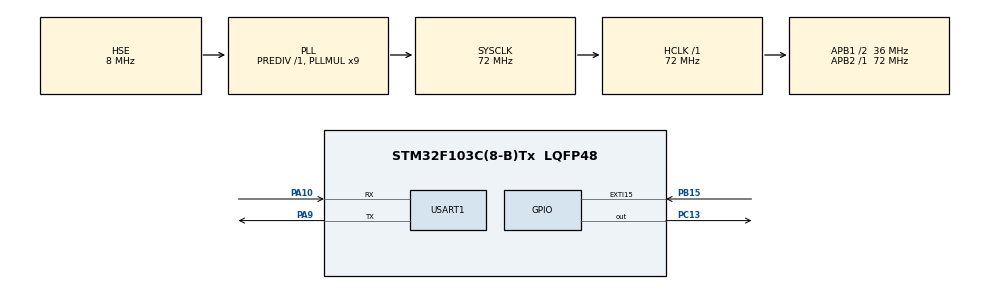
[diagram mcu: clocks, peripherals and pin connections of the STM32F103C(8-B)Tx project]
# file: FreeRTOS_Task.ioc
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Mcu.Family=STM32F1
Mcu.Name=STM32F103C(8-B)Tx
Mcu.Package=LQFP48
NVIC.EXTI15_10_IRQn=true\:0\:0\:false\:false\:true\:true\:true\:true
NVIC.PriorityGroup=NVIC_PRIORITYGROUP_4
NVIC.TIM2_IRQn=true\:15\:0\:false\:false\:true\:false\:true\:true
NVIC.TimeBase=TIM2_IRQn
NVIC.TimeBaseIP=TIM2
PA10.Mode=Asynchronous
PA10.Signal=USART1_RX
PA13.Mode=Serial_Wire
PA13.Signal=SYS_JTMS-SWDIO
PA14.Mode=Serial_Wire
PA14.Signal=SYS_JTCK-SWCLK
PA9.Mode=Asynchronous
PA9.Signal=USART1_TX
PB15.GPIO_PuPd=GPIO_PULLDOWN
PB15.Signal=GPXTI15
PC13-TAMPER-RTC.Signal=GPIO_Output
PD0-OSC_IN.Mode=HSE-External-Oscillator
PD0-OSC_IN.Signal=RCC_OSC_IN
PD1-OSC_OUT.Mode=HSE-External-Oscillator
PD1-OSC_OUT.Signal=RCC_OSC_OUT
ProjectManager.HeapSize=0x200
ProjectManager.StackSize=0x400
ProjectManager.TargetToolchain=STM32CubeIDE
RCC.AHBFreq_Value=72000000
RCC.APB1CLKDivider=RCC_HCLK_DIV2
RCC.APB1Freq_Value=36000000
RCC.APB1TimFreq_Value=72000000
RCC.APB2Freq_Value=72000000
RCC.APB2TimFreq_Value=72000000
RCC.HCLKFreq_Value=72000000
RCC.PLLMUL=RCC_PLL_MUL9
RCC.PLLSourceVirtual=RCC_PLLSOURCE_HSE
RCC.SYSCLKFreq_VALUE=72000000
RCC.SYSCLKSource=RCC_SYSCLKSOURCE_PLLCLK
RCC.USBFreq_Value=72000000
USART1.VirtualMode=VM_ASYNC
VP_SYS_VS_tim2.Mode=TIM2
board=custom

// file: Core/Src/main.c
/* USER CODE BEGIN Header */
/**
  ******************************************************************************
  * @file           : main.c
  * @brief          : Main program body
  ******************************************************************************
  * @attention
  *
  * Copyright (c) 2026 STMicroelectronics.
  * All rights reserved.
  *
  * This software is licensed under terms that can be found in the LICENSE file
  * in the root directory of this software component.
  * If no LICENSE file comes with this software, it is provided AS-IS.
  *
  ******************************************************************************
  */
/* USER CODE END Header */
#include "main.h"

/* USER CODE BEGIN Includes */

// Standard includes.
#include <stdio.h>

// Scheduler includes.
#include "FreeRTOS.h"
#include "task.h"
#include "queue.h"
#include "semphr.h"
#include "event_groups.h"

/* USER CODE END Includes */

UART_HandleTypeDef huart1;

void SystemClock_Config(void);
static void MX_GPIO_Init(void);
static void MX_USART1_UART_Init(void);

/* USER CODE BEGIN 0 */
#define switch_event_flag 0x01 // set the flag to 0x01 (arbitary)

static void prvCalcSwitch1(  void * pvParameters  );
static void prvIncreaseVar(  void * pvParameters  );
static void prvDecreaseVar(  void * pvParameters  );
static void prvUART(  void * pvParameters  );

uint32_t shared = 100; // protected by the mutex
volatile uint32_t counter = 0; // only accessed by calcSwitch1

// will be handled by a queue
typedef struct {
	uint8_t source; // 0 for SRC:counter, 1 for SRC:shared
	uint32_t value;
} UARTData_t;

QueueHandle_t UARTHandle;
SemaphoreHandle_t sharedMutex;
EventGroupHandle_t counterEventHandle;

// Event Counter

/* USER CODE END 0 */

int main(void)
{

  /* MCU Configuration--------------------------------------------------------*/

  /* Reset of all peripherals, Initializes the Flash interface and the Systick. */
  HAL_Init();

  /* Configure the system clock */
  SystemClock_Config();

  /* Initialize all configured peripherals */
  MX_GPIO_Init();
  MX_USART1_UART_Init();
  /* USER CODE BEGIN 2 */

  // https://www.freertos.org/Documentation/02-Kernel/04-API-references/01-Task-creation/01-xTaskCreate
  xTaskCreate( prvCalcSwitch1, "CalcSwitch1", configMINIMAL_STACK_SIZE, NULL, tskIDLE_PRIORITY + 1, NULL );
  xTaskCreate( prvIncreaseVar, "IncreaseVar", configMINIMAL_STACK_SIZE, NULL, tskIDLE_PRIORITY + 1, NULL );
  xTaskCreate( prvDecreaseVar, "DecreaseVar", configMINIMAL_STACK_SIZE, NULL, tskIDLE_PRIORITY + 1, NULL );
  xTaskCreate( prvUART, "UART", configMINIMAL_STACK_SIZE * 2, NULL, tskIDLE_PRIORITY + 1, NULL );

  // https://www.freertos.org/Documentation/02-Kernel/04-API-references/06-Queues/01-xQueueCreate
  UARTHandle = xQueueCreate( 10, sizeof(UARTData_t) );

  // https://www.freertos.org/Documentation/02-Kernel/04-API-references/10-Semaphore-and-Mutexes/06-xSemaphoreCreateMutex
  sharedMutex = xSemaphoreCreateMutex();

  // https://www.freertos.org/Documentation/02-Kernel/04-API-references/12-Event-groups-or-flags/01-xEventGroupCreate
  counterEventHandle = xEventGroupCreate();

  // https://www.freertos.org/Documentation/02-Kernel/04-API-references/04-RTOS-kernel-control/03-vTaskStartScheduler
  vTaskStartScheduler();

  /* USER CODE END 2 */

  /* Infinite loop */
  while (1)
  {

  }
}

void SystemClock_Config(void)
{
  RCC_OscInitTypeDef RCC_OscInitStruct = {0};
  RCC_ClkInitTypeDef RCC_ClkInitStruct = {0};

  /** Initializes the RCC Oscillators according to the specified parameters
  * in the RCC_OscInitTypeDef structure.
  */
  RCC_OscInitStruct.OscillatorType = RCC_OSCILLATORTYPE_HSE;
  RCC_OscInitStruct.HSEState = RCC_HSE_ON;
  RCC_OscInitStruct.HSEPredivValue = RCC_HSE_PREDIV_DIV1;
  RCC_OscInitStruct.HSIState = RCC_HSI_ON;
  RCC_OscInitStruct.PLL.PLLState = RCC_PLL_ON;
  RCC_OscInitStruct.PLL.PLLSource = RCC_PLLSOURCE_HSE;
  RCC_OscInitStruct.PLL.PLLMUL = RCC_PLL_MUL9;
  if (HAL_RCC_OscConfig(&RCC_OscInitStruct) != HAL_OK)
  {
    Error_Handler();
  }

  /** Initializes the CPU, AHB and APB buses clocks
  */
  RCC_ClkInitStruct.ClockType = RCC_CLOCKTYPE_HCLK|RCC_CLOCKTYPE_SYSCLK
                              |RCC_CLOCKTYPE_PCLK1|RCC_CLOCKTYPE_PCLK2;
  RCC_ClkInitStruct.SYSCLKSource = RCC_SYSCLKSOURCE_PLLCLK;
  RCC_ClkInitStruct.AHBCLKDivider = RCC_SYSCLK_DIV1;
  RCC_ClkInitStruct.APB1CLKDivider = RCC_HCLK_DIV2;
  RCC_ClkInitStruct.APB2CLKDivider = RCC_HCLK_DIV1;

  if (HAL_RCC_ClockConfig(&RCC_ClkInitStruct, FLASH_LATENCY_2) != HAL_OK)
  {
    Error_Handler();
  }
}

static void MX_USART1_UART_Init(void)
{

  huart1.Instance = USART1;
  huart1.Init.BaudRate = 115200;
  huart1.Init.WordLength = UART_WORDLENGTH_8B;
  huart1.Init.StopBits = UART_STOPBITS_1;
  huart1.Init.Parity = UART_PARITY_NONE;
  huart1.Init.Mode = UART_MODE_TX_RX;
  huart1.Init.HwFlowCtl = UART_HWCONTROL_NONE;
  huart1.Init.OverSampling = UART_OVERSAMPLING_16;
  if (HAL_UART_Init(&huart1) != HAL_OK)
  {
    Error_Handler();
  }

}

static void MX_GPIO_Init(void)
{
  GPIO_InitTypeDef GPIO_InitStruct = {0};

  /* GPIO Ports Clock Enable */
  __HAL_RCC_GPIOC_CLK_ENABLE();
  __HAL_RCC_GPIOD_CLK_ENABLE();
  __HAL_RCC_GPIOB_CLK_ENABLE();
  __HAL_RCC_GPIOA_CLK_ENABLE();

  /*Configure GPIO pin Output Level */
  HAL_GPIO_WritePin(GPIOC, GPIO_PIN_13, GPIO_PIN_RESET);

  /*Configure GPIO pin : PC13 */
  GPIO_InitStruct.Pin = GPIO_PIN_13;
  GPIO_InitStruct.Mode = GPIO_MODE_OUTPUT_PP;
  GPIO_InitStruct.Pull = GPIO_NOPULL;
  GPIO_InitStruct.Speed = GPIO_SPEED_FREQ_LOW;
  HAL_GPIO_Init(GPIOC, &GPIO_InitStruct);

  /*Configure GPIO pin : PB15 */
  GPIO_InitStruct.Pin = GPIO_PIN_15;
  GPIO_InitStruct.Mode = GPIO_MODE_IT_RISING;
  GPIO_InitStruct.Pull = GPIO_PULLDOWN;
  HAL_GPIO_Init(GPIOB, &GPIO_InitStruct);

  /* EXTI interrupt init*/
  HAL_NVIC_SetPriority(EXTI15_10_IRQn, 0, 0);
  HAL_NVIC_EnableIRQ(EXTI15_10_IRQn);

}

/* USER CODE BEGIN 4 */

void HAL_GPIO_EXTI_Callback(uint16_t GPIO_Pin) // #27
{
	static uint32_t lastTick = 0;
	//https://www.freertos.org/Documentation/02-Kernel/04-API-references/12-Event-groups-or-flags/06-xEventGroupSetBitsFromISR
	BaseType_t xHigherPriorityTaskWoken = pdFALSE;

	if (GPIO_Pin != GPIO_PIN_15 || counterEventHandle == NULL)
		return;

	uint32_t now = xTaskGetTickCountFromISR();
	if ((now - lastTick) < 200) // for handling debounce
		return;
	lastTick = now;

	if (counter >= 9)
		counter = 0;
	else
		counter++;

	// https://www.freertos.org/Documentation/02-Kernel/04-API-references/12-Event-groups-or-flags/06-xEventGroupSetBitsFromISR
	xEventGroupSetBitsFromISR((EventGroupHandle_t)counterEventHandle, switch_event_flag, &xHigherPriorityTaskWoken); // to set a flag so the calcswitch know the button is pressed
	portYIELD_FROM_ISR(xHigherPriorityTaskWoken); // this requests a context switch as soon as the ISR exits
}

static void prvCalcSwitch1(  void * pvParameters  )
{
	UARTData_t  msg;
	uint32_t    counterCopy;
	EventBits_t bits;

	for(;;)
	{
		// https://www.freertos.org/Documentation/02-Kernel/04-API-references/12-Event-groups-or-flags/04-xEventGroupWaitBits
		// blocked for 2 ticks (2ms) unless the event is set
		// xClearOnExit --> true , xWaitForAllBits --> false
		bits = xEventGroupWaitBits((EventGroupHandle_t)counterEventHandle, switch_event_flag, pdTRUE, pdFALSE, 2);

		if (bits & switch_event_flag)
		{
			//https://www.freertos.org/Documentation/02-Kernel/04-API-references/04-RTOS-kernel-control/01-taskENTER_CRITICAL_taskEXIT_CRITICAL
			// This reads the global counter safely by diabling all interrrupts
			taskENTER_CRITICAL();
			counterCopy = counter;
			taskEXIT_CRITICAL();

			msg.source = 0;
			msg.value  = counterCopy * 10U;

		    xQueueSend(UARTHandle , &msg, 0);
		}

	}
}

static void prvIncreaseVar(  void * pvParameters  )
{
	UARTData_t msg;
	//https://www.freertos.org/Documentation/02-Kernel/04-API-references/03-Task-utilities/00-Task-utilities#xtaskgettickcount
	TickType_t xLastWakeTime = xTaskGetTickCount();

	for(;;)
	{
		// https://www.freertos.org/Documentation/02-Kernel/04-API-references/10-Semaphore-and-Mutexes/12-xSemaphoreTake
		if (xSemaphoreTake( sharedMutex, ( TickType_t ) 10 ) == pdTRUE )
		{
			shared++;
			if (shared > 200)
			{
				shared = 100;
			}

			msg.source = 1;
			msg.value  = shared;

			// https://www.freertos.org/Documentation/02-Kernel/04-API-references/10-Semaphore-and-Mutexes/15-xSemaphoreGive
			xSemaphoreGive( sharedMutex );

			//https://www.freertos.org/Documentation/02-Kernel/04-API-references/06-Queues/03-xQueueSend
			xQueueSend(UARTHandle , &msg, 0);
		}

		// https://www.freertos.org/Documentation/02-Kernel/04-API-references/02-Task-control/03-xTaskDelayUntil
		xTaskDelayUntil(&xLastWakeTime, 10);

	}
}

static void prvDecreaseVar(  void * pvParameters  )
{
	UARTData_t msg;
	TickType_t xLastWakeTime = xTaskGetTickCount();

	for(;;)
	{
		if (xSemaphoreTake( sharedMutex, ( TickType_t ) 10 ) == pdTRUE )
		{
			shared--;
			if (shared < 100)
			{
				shared = 200;
			}

			msg.source = 1;
			msg.value  = shared;

			xSemaphoreGive( sharedMutex );

			xQueueSend(UARTHandle , &msg, 0);
		}

		xTaskDelayUntil(&xLastWakeTime, 12);

	}
}

static void prvUART(  void * pvParameters  )
{
	UARTData_t rx;
	char txBuf[48];
	int len;
	TickType_t xLastWakeTime = xTaskGetTickCount();

	for(;;)
	{
		//https://www.freertos.org/Documentation/02-Kernel/04-API-references/06-Queues/09-xQueueReceive
	  while (xQueueReceive(UARTHandle, &rx, 0))
	  {
		  if (rx.source == 0)
		  {
			  len = snprintf(txBuf, sizeof(txBuf),
							 "Counter: %lu\r\n", (unsigned long)rx.value);
		  }
		  else
		  {
			  len = snprintf(txBuf, sizeof(txBuf),
							 "Shared: %lu\r\n", (unsigned long)rx.value);
		  }

		  if (len > 0)
		  {
			  // #556
			  HAL_UART_Transmit(&huart1, (uint8_t *)txBuf, (uint16_t)len, 100);
		  }
	  }

	  xTaskDelayUntil(&xLastWakeTime, 5);
	}
}

/* USER CODE END 4 */

void HAL_TIM_PeriodElapsedCallback(TIM_HandleTypeDef *htim)
{
  if (htim->Instance == TIM2)
  {
    HAL_IncTick();
  }
}

void Error_Handler(void)
{
  __disable_irq();
  while (1)
  {
  }
}
